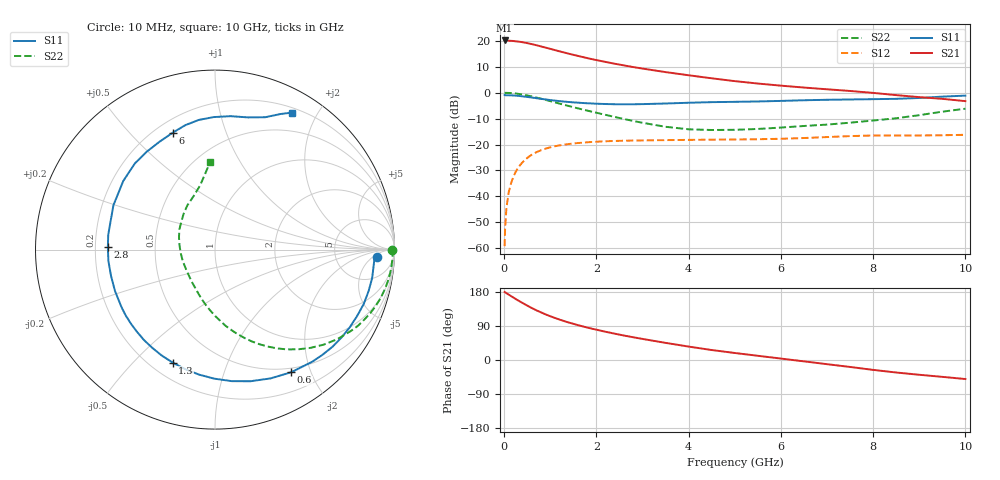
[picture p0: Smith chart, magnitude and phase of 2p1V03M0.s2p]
! (c) 2009  Infineon Technologies AG, Munich
! Infineon Technologies  Discrete & RF Semiconductors
! BFP420
! VCE =  1.0 V,  IC =  3.0 mA
! Common Emitter S-Parameters:  Nov 2009
# GHz  S  MA  R  50
!  f  S11  S21  S12  S22
! GHz  MAG  ANG  MAG  ANG  MAG  ANG  MAG  ANG
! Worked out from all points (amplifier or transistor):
!   46 points, 10 MHz to 10 GHz, reference 50 ohm
!   highest |S21| = 20.1 dB at 10 MHz (marker M1)
!   |S21| within 3 dB of that: start of sweep to 949.6 MHz
!   unconditionally stable (mu >= 1): 3.509 GHz to end of sweep
!   at 300 MHz: K = 0.06, MSG = 24.4 dB, |S12| = -29.1 dB
!   at 1.7 GHz: K = 0.46, MSG = 16.5 dB, |S12| = -19.3 dB
!   at 10 GHz: K = 1.16, MAG = 4.1 dB, |S12| = -16.3 dB
!   lowest NFmin = 0.57 dB at 900 MHz
!   S11 on the Smith chart (normalised r, x): 10 MHz: 17, -7; 600 MHz: 0.44, -1.71; 1.3 GHz: 0.28, -0.65; 2.8 GHz: 0.25, +0.01; 6 GHz: 0.27, +0.67; 10 GHz: 0.26, +1.68
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0.01  0.9042 -2.6  10.13 179.4  0.0011 86.3  0.9885 0.0
0.02  0.8919 -1.9  9.915 178.8  0.0023 85.8  0.9904 -1.3
0.05  0.8889 -4.7  9.962 176.2  0.0061 89.1  0.99 -3.2
0.15  0.8864 -15.1  9.957 168.6  0.018 81.6  0.981 -9.7
0.3  0.8666 -30.0  9.656 157.4  0.0352 73.3  0.9494 -19.2
0.4  0.8493 -39.6  9.352 150.4  0.0457 67.8  0.919 -25.1
0.5  0.8271 -49.0  8.993 143.6  0.0552 62.8  0.8833 -30.8
0.6  0.8046 -58.1  8.607 137.1  0.0638 58.0  0.8449 -36.2
0.7  0.7815 -66.7  8.194 131.1  0.0712 53.7  0.8041 -41.2
0.9  0.7389 -82.7  7.361 120.3  0.0834 46.0  0.724 -50.1
1.1  0.7022 -97.3  6.602 111.0  0.0926 39.7  0.6496 -57.9
1.3  0.6721 -110.6  5.934 102.7  0.0996 34.2  0.5827 -64.8
1.7  0.6312 -133.6  4.864 88.8  0.1089 25.7  0.4736 -76.6
2.2  0.6032 -157.3  3.901 74.5  0.1155 17.8  0.3727 -89.4
2.8  0.5971 178.7  3.109 60.0  0.1193 10.8  0.2847 -105.2
3.5  0.6176 156.4  2.487 45.2  0.1215 4.9  0.2197 -126.6
4.5  0.6556 132.9  1.888 26.3  0.124 -1.1  0.1906 -160.6
5.5  0.6758 117.2  1.497 11.1  0.1265 -5.0  0.1996 172.7
6  0.6926 109.9  1.363 3.8  0.1291 -6.4  0.2123 160.9
7  0.7281 97.1  1.16 -11.0  0.1392 -10.4  0.2421 141.1
8.5  0.7596 75.8  0.896 -33.0  0.1495 -21.3  0.3209 111.8
10  0.8754 60.7  0.686 -50.2  0.1539 -27.9  0.4896 93.1
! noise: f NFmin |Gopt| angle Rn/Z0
0.9  0.57  0.35  33  0.18
1.8  1.02  0.2  79  0.14
2.4  1.1  0.23  104  0.14
3  1.25  0.24  144  0.11
4  1.46  0.33  -159  0.1
5  1.9  0.39  -128  0.22
6  2.46  0.48  -107  0.35
